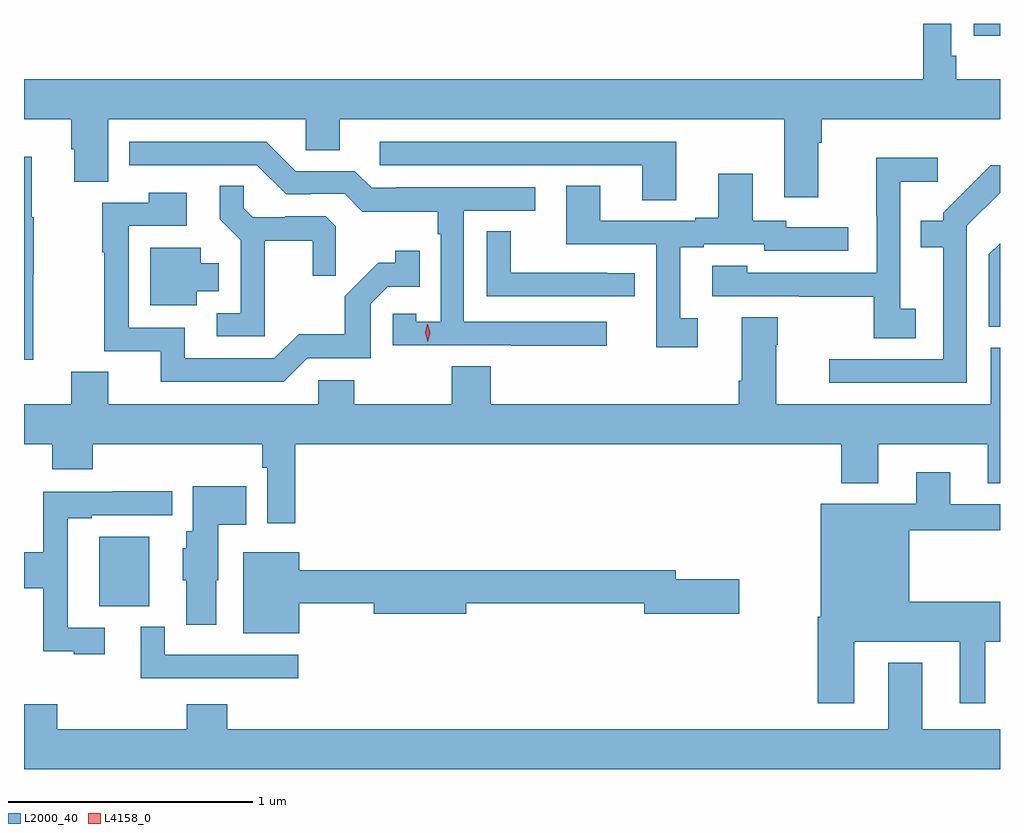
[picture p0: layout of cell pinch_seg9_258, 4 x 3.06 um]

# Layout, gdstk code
import gdstk
lib = gdstk.Library(unit=1e-6, precision=1e-09)
def R(c, l, rs):  # rectangles x0, y0, x1, y1
    for r in rs: c.add(gdstk.rectangle(r[:2], r[2:], *l))
def P(c, l, *ps):  # polygons
    for p in ps: c.add(gdstk.Polygon(p, *l))
L2000_40 = (2000, 40)
L4158_0 = (4158, 0)

pinch_seg9_258 = lib.new_cell('pinch_seg9_258')
R(pinch_seg9_258, L2000_40, [(411.527,1210.409,411.733,1210.693), (415.112,1212.747,415.219,1212.796)])
P(pinch_seg9_258, L2000_40, [(414.475,1212.308),(414.488,1212.308),(414.488,1212.404),(415.219,1212.404),(415.219,1212.568),(415.04,1212.568),(415.04,1212.664),(415.02,1212.664),(415.02,1212.796),(414.904,1212.796),(414.904,1212.568),(411.219,1212.568),(411.219,1212.404),(411.413,1212.404),(411.413,1212.282),(411.425,1212.282),(411.425,1212.148),(411.565,1212.148),(411.565,1212.404),(412.374,1212.404),(412.374,1212.277),(412.513,1212.277),(412.513,1212.404),(414.335,1212.404),(414.335,1212.084),(414.475,1212.084)],
  [(413.893,1212.312),(412.677,1212.312),(412.677,1212.216),(413.753,1212.216),(413.753,1212.073),(413.893,1212.073)],
  [(413.608,1211.574),(413.022,1211.574),(413.022,1212.03),(413.314,1212.03),(413.314,1212.126),(412.744,1212.126),(412.744,1212.123),(412.644,1212.123),(412.575,1212.192),(412.332,1212.192),(412.212,1212.312),(411.65,1212.312),(411.65,1212.216),(412.173,1212.216),(412.293,1212.096),(412.394,1212.096),(412.394,1212.099),(412.533,1212.099),(412.606,1212.026),(412.914,1212.026),(412.914,1211.933),(412.926,1211.933),(412.926,1211.575),(412.827,1211.575),(412.827,1211.607),(412.731,1211.607),(412.731,1211.478),(413.215,1211.478),(413.215,1211.476),(413.608,1211.476)],
  [(411.256,1211.766),(411.258,1211.766),(411.258,1212.002),(411.25,1212.002),(411.25,1212.25),(411.219,1212.25),(411.219,1211.418),(411.256,1211.418)],
  [(414.874,1211.628),(414.81,1211.628),(414.81,1212.149),(414.964,1212.149),(414.964,1212.247),(414.712,1212.247),(414.712,1212.008),(414.714,1212.008),(414.714,1211.775),(414.183,1211.775),(414.183,1211.803),(414.039,1211.803),(414.039,1211.679),(414.397,1211.679),(414.397,1211.677),(414.702,1211.677),(414.702,1211.506),(414.874,1211.506)],
  [(415.083,1211.967),(415.219,1212.103),(415.219,1212.216),(415.182,1212.216),(414.987,1212.021),(414.987,1211.989),(414.895,1211.989),(414.895,1211.88),(414.986,1211.88),(414.986,1211.421),(414.519,1211.421),(414.519,1211.325),(415.083,1211.325)],
  [(413.98,1211.589),(413.908,1211.589),(413.908,1211.88),(414.004,1211.88),(414.004,1211.892),(414.252,1211.892),(414.252,1211.865),(414.598,1211.865),(414.598,1211.961),(414.342,1211.961),(414.342,1211.988),(414.205,1211.988),(414.205,1212.181),(414.065,1212.181),(414.065,1212.001),(413.969,1212.001),(413.969,1211.988),(413.581,1211.988),(413.581,1212.131),(413.441,1212.131),(413.441,1211.892),(413.811,1211.892),(413.811,1211.469),(413.98,1211.469)],
  [(412.205,1211.906),(412.402,1211.906),(412.402,1211.763),(412.496,1211.763),(412.496,1211.965),(412.455,1212.006),(412.29,1212.006),(412.29,1212.003),(412.156,1212.003),(412.119,1212.04),(412.119,1212.131),(412.021,1212.131),(412.021,1211.995),(412.107,1211.909),(412.107,1211.61),(412.008,1211.61),(412.008,1211.514),(412.205,1211.514)],
  [(412.38,1211.424),(412.641,1211.424),(412.641,1211.649),(412.71,1211.718),(412.841,1211.718),(412.841,1211.866),(412.74,1211.866),(412.74,1211.816),(412.67,1211.816),(412.533,1211.678),(412.533,1211.523),(412.344,1211.523),(412.245,1211.424),(411.877,1211.424),(411.877,1211.55),(411.648,1211.55),(411.648,1211.967),(411.886,1211.967),(411.886,1212.103),(411.73,1212.103),(411.73,1212.063),(411.54,1212.063),(411.54,1211.86),(411.547,1211.86),(411.547,1211.454),(411.779,1211.454),(411.779,1211.328),(412.284,1211.328)],
  [(413.722,1211.774),(413.609,1211.774),(413.609,1211.775),(413.214,1211.775),(413.214,1211.945),(413.115,1211.945),(413.115,1211.679),(413.722,1211.679)],
  [(415.219,1211.897),(415.173,1211.851),(415.173,1211.553),(415.219,1211.553)],
  [(411.928,1211.699),(412.018,1211.699),(412.018,1211.815),(411.943,1211.815),(411.943,1211.878),(411.737,1211.878),(411.737,1211.642),(411.928,1211.642)],
  [(415.219,1211.468),(415.181,1211.468),(415.181,1211.236),(414.301,1211.236),(414.301,1211.48),(414.309,1211.48),(414.309,1211.593),(414.161,1211.593),(414.161,1211.332),(414.149,1211.332),(414.149,1211.236),(413.132,1211.236),(413.132,1211.393),(412.972,1211.393),(412.972,1211.236),(412.572,1211.236),(412.572,1211.334),(412.425,1211.334),(412.425,1211.236),(411.565,1211.236),(411.565,1211.369),(411.413,1211.369),(411.413,1211.236),(411.219,1211.236),(411.219,1211.072),(411.335,1211.072),(411.335,1210.97),(411.5,1210.97),(411.5,1211.072),(412.195,1211.072),(412.195,1210.976),(412.215,1210.976),(412.215,1210.749),(412.331,1210.749),(412.331,1211.072),(414.569,1211.072),(414.569,1210.913),(414.721,1210.913),(414.721,1211.072),(415.169,1211.072),(415.169,1210.912),(415.219,1210.912)],
  [(414.622,1210.262),(415.055,1210.262),(415.055,1210.011),(415.159,1210.011),(415.159,1210.262),(415.219,1210.262),(415.219,1210.426),(414.847,1210.426),(414.847,1210.719),(415.219,1210.719),(415.219,1210.827),(415.015,1210.827),(415.015,1210.957),(414.875,1210.957),(414.875,1210.828),(414.485,1210.828),(414.485,1210.366),(414.473,1210.366),(414.473,1210.011),(414.622,1210.011)],
  [(412.006,1210.515),(412.015,1210.515),(412.015,1210.742),(412.13,1210.742),(412.13,1210.9),(411.911,1210.9),(411.911,1210.716),(411.884,1210.716),(411.884,1210.647),(411.869,1210.647),(411.869,1210.515),(411.884,1210.515),(411.884,1210.332),(412.006,1210.332)],
  [(411.55,1210.32),(411.399,1210.32),(411.399,1210.77),(411.496,1210.77),(411.496,1210.782),(411.826,1210.782),(411.826,1210.88),(411.583,1210.88),(411.583,1210.878),(411.298,1210.878),(411.298,1210.63),(411.219,1210.63),(411.219,1210.483),(411.298,1210.483),(411.298,1210.223),(411.422,1210.223),(411.422,1210.212),(411.55,1210.212)],
  [(412.348,1210.42),(412.652,1210.42),(412.652,1210.378),(413.032,1210.378),(413.032,1210.42),(413.762,1210.42),(413.762,1210.378),(414.151,1210.378),(414.151,1210.52),(413.89,1210.52),(413.89,1210.556),(412.348,1210.556),(412.348,1210.63),(412.118,1210.63),(412.118,1210.298),(412.348,1210.298)],
  [(412.342,1210.209),(411.795,1210.209),(411.795,1210.324),(411.698,1210.324),(411.698,1210.113),(412.342,1210.113)],
  [(415.219,1209.904),(414.901,1209.904),(414.901,1210.177),(414.761,1210.177),(414.761,1209.904),(412.052,1209.904),(412.052,1210.006),(411.887,1210.006),(411.887,1209.904),(411.356,1209.904),(411.356,1210.006),(411.219,1210.006),(411.219,1209.74),(415.219,1209.74)])
P(pinch_seg9_258, L4158_0, [(412.874,1211.493),(412.874,1211.493),(412.863,1211.529),(412.872,1211.565),(412.873,1211.565),(412.873,1211.565),(412.883,1211.53),(412.874,1211.493)])

lib.write_gds('pinch_seg9_258.gds')
